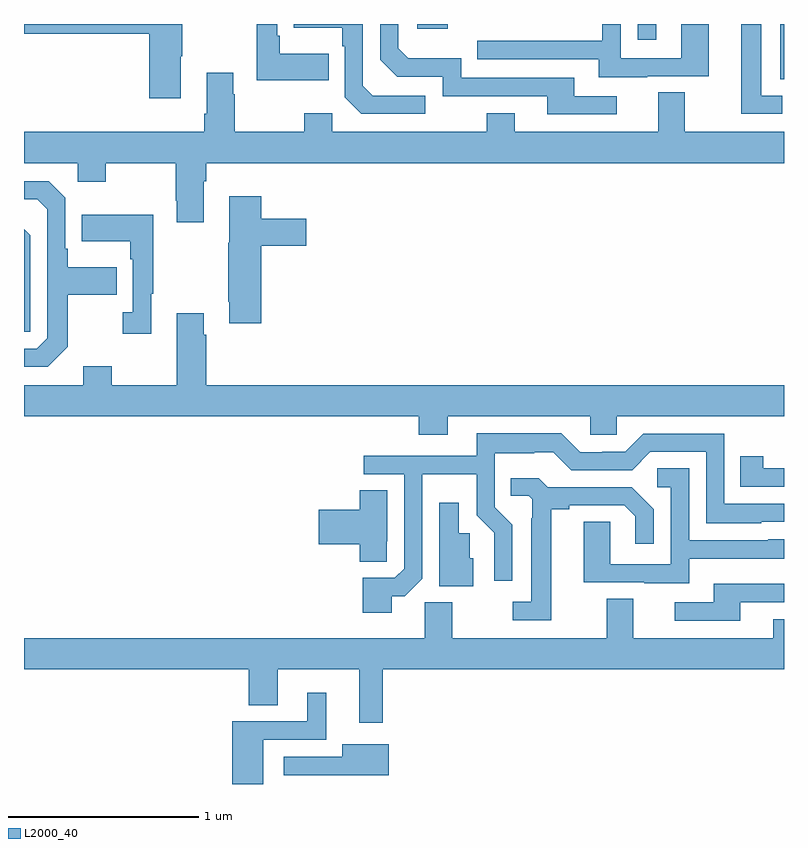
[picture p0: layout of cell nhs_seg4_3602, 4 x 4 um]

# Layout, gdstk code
import gdstk
lib = gdstk.Library(unit=1e-6, precision=1e-09)
def R(c, l, rs):  # rectangles x0, y0, x1, y1
    for r in rs: c.add(gdstk.rectangle(r[:2], r[2:], *l))
def P(c, l, *ps):  # polygons
    for p in ps: c.add(gdstk.Polygon(p, *l))
L2000_40 = (2000, 40)

nhs_seg4_3602 = lib.new_cell('nhs_seg4_3602')
R(nhs_seg4_3602, L2000_40, [(304.98,782.608,305,782.9), (304.23,782.817,304.327,782.9), (303.069,782.876,303.23,782.9)])
P(nhs_seg4_3602, L2000_40, [(303.112,782.523),(302.835,782.523),(302.784,782.574),(302.784,782.9),(302.419,782.9),(302.419,782.879),(302.676,782.879),(302.676,782.783),(302.688,782.783),(302.688,782.514),(302.775,782.427),(303.112,782.427)],
  [(301.825,782.731),(301.833,782.731),(301.833,782.9),(301,782.9),(301,782.848),(301.658,782.848),(301.658,782.508),(301.825,782.508)],
  [(302.603,782.743),(302.347,782.743),(302.347,782.839),(302.334,782.839),(302.334,782.9),(302.226,782.9),(302.226,782.603),(302.603,782.603)],
  [(304.12,782.52),(303.895,782.52),(303.895,782.616),(303.3,782.616),(303.3,782.719),(303.023,782.719),(302.97,782.772),(302.97,782.9),(302.874,782.9),(302.874,782.712),(302.964,782.622),(303.204,782.622),(303.204,782.52),(303.755,782.52),(303.755,782.424),(304.12,782.424)],
  [(304.279,782.625),(304.603,782.625),(304.603,782.9),(304.458,782.9),(304.458,782.721),(304.14,782.721),(304.14,782.9),(304.044,782.9),(304.044,782.811),(303.385,782.811),(303.385,782.715),(304.025,782.715),(304.025,782.621),(304.279,782.621)],
  [(304.99,782.523),(304.879,782.523),(304.879,782.9),(304.775,782.9),(304.775,782.427),(304.99,782.427)],
  [(301,782.168),(301.284,782.168),(301.284,782.069),(301.431,782.069),(301.431,782.168),(301.798,782.168),(301.798,781.969),(301.805,781.969),(301.805,781.857),(301.945,781.857),(301.945,782.072),(301.958,782.072),(301.958,782.168),(305,782.168),(305,782.332),(304.477,782.332),(304.477,782.54),(304.337,782.54),(304.337,782.332),(303.583,782.332),(303.583,782.431),(303.436,782.431),(303.436,782.332),(302.622,782.332),(302.622,782.431),(302.476,782.431),(302.476,782.332),(302.109,782.332),(302.109,782.531),(302.101,782.531),(302.101,782.644),(301.961,782.644),(301.961,782.428),(301.949,782.428),(301.949,782.332),(301,782.332)],
  [(301.231,781.201),(301.231,781.474),(301.487,781.474),(301.487,781.621),(301.231,781.621),(301.231,781.717),(301.218,781.717),(301.218,781.986),(301.131,782.073),(301,782.073),(301,781.977),(301.071,781.977),(301.122,781.926),(301.122,781.245),(301.068,781.191),(301,781.191),(301,781.095),(301.125,781.095)],
  [(302.249,781.733),(302.485,781.733),(302.485,781.875),(302.249,781.875),(302.249,781.993),(302.081,781.993),(302.081,781.749),(302.074,781.749),(302.074,781.438),(302.081,781.438),(302.081,781.326),(302.249,781.326)],
  [(301.669,781.481),(301.681,781.481),(301.681,781.897),(301.303,781.897),(301.303,781.757),(301.56,781.757),(301.56,781.661),(301.572,781.661),(301.572,781.382),(301.521,781.382),(301.521,781.269),(301.669,781.269)],
  [(301.032,781.788),(301,781.82),(301,781.281),(301.032,781.281)],
  [(303.229,780.836),(303.981,780.836),(303.981,780.738),(304.119,780.738),(304.119,780.836),(305,780.836),(305,781),(301.958,781),(301.958,781.265),(301.945,781.265),(301.945,781.378),(301.805,781.378),(301.805,781),(301.461,781),(301.461,781.099),(301.313,781.099),(301.313,781),(301,781),(301,780.836),(303.077,780.836),(303.077,780.737),(303.229,780.737)],
  [(302.935,779.887),(303.003,779.887),(303.096,779.979),(303.096,780.53),(303.384,780.53),(303.384,780.314),(303.476,780.222),(303.476,779.97),(303.57,779.97),(303.57,780.264),(303.477,780.357),(303.477,780.641),(303.686,780.641),(303.686,780.645),(303.786,780.645),(303.879,780.552),(304.2,780.552),(304.296,780.648),(304.59,780.648),(304.59,780.272),(304.881,780.272),(304.881,780.279),(305,780.279),(305,780.375),(304.686,780.375),(304.686,780.744),(304.26,780.744),(304.164,780.648),(304.044,780.648),(304.044,780.645),(303.927,780.645),(303.827,780.745),(303.383,780.745),(303.383,780.627),(302.787,780.627),(302.787,780.531),(303,780.531),(303,780.033),(302.952,779.985),(302.783,779.985),(302.783,779.802),(302.935,779.802)],
  [(305,780.561),(304.89,780.561),(304.89,780.625),(304.771,780.625),(304.771,780.465),(305,780.465)],
  [(304.501,780.086),(305,780.086),(305,780.189),(304.917,780.189),(304.917,780.183),(304.5,780.183),(304.5,780.563),(304.332,780.563),(304.332,780.462),(304.404,780.462),(304.404,780.057),(304.086,780.057),(304.086,780.281),(303.947,780.281),(303.947,779.961),(304.265,779.961),(304.265,779.957),(304.501,779.957)],
  [(303.775,780.346),(303.871,780.346),(303.871,780.366),(304.16,780.366),(304.217,780.309),(304.217,780.165),(304.314,780.165),(304.314,780.346),(304.198,780.462),(303.756,780.462),(303.708,780.509),(303.562,780.509),(303.562,780.417),(303.657,780.417),(303.675,780.399),(303.675,780.299),(303.671,780.299),(303.671,779.859),(303.573,779.859),(303.573,779.763),(303.775,779.763)],
  [(302.91,780.178),(302.911,780.178),(302.911,780.446),(302.768,780.446),(302.768,780.344),(302.55,780.344),(302.55,780.161),(302.768,780.161),(302.768,780.07),(302.91,780.07)],
  [(303.364,780.087),(303.345,780.087),(303.345,780.219),(303.289,780.219),(303.289,780.379),(303.185,780.379),(303.185,779.942),(303.364,779.942)],
  [(304.771,779.856),(305,779.856),(305,779.953),(304.631,779.953),(304.631,779.856),(304.425,779.856),(304.425,779.76),(304.771,779.76)],
  [(302.887,779.504),(305,779.504),(305,779.767),(304.943,779.767),(304.943,779.668),(304.207,779.668),(304.207,779.876),(304.067,779.876),(304.067,779.668),(303.255,779.668),(303.255,779.857),(303.108,779.857),(303.108,779.668),(301,779.668),(301,779.504),(302.183,779.504),(302.183,779.314),(302.335,779.314),(302.335,779.504),(302.765,779.504),(302.765,779.223),(302.887,779.223)],
  [(302.26,779.133),(302.59,779.133),(302.59,779.38),(302.492,779.38),(302.492,779.229),(302.096,779.229),(302.096,778.9),(302.26,778.9)],
  [(302.92,779.11),(302.675,779.11),(302.675,779.043),(302.367,779.043),(302.367,778.947),(302.679,778.947),(302.679,778.946),(302.92,778.946)])

lib.write_gds('nhs_seg4_3602.gds')
